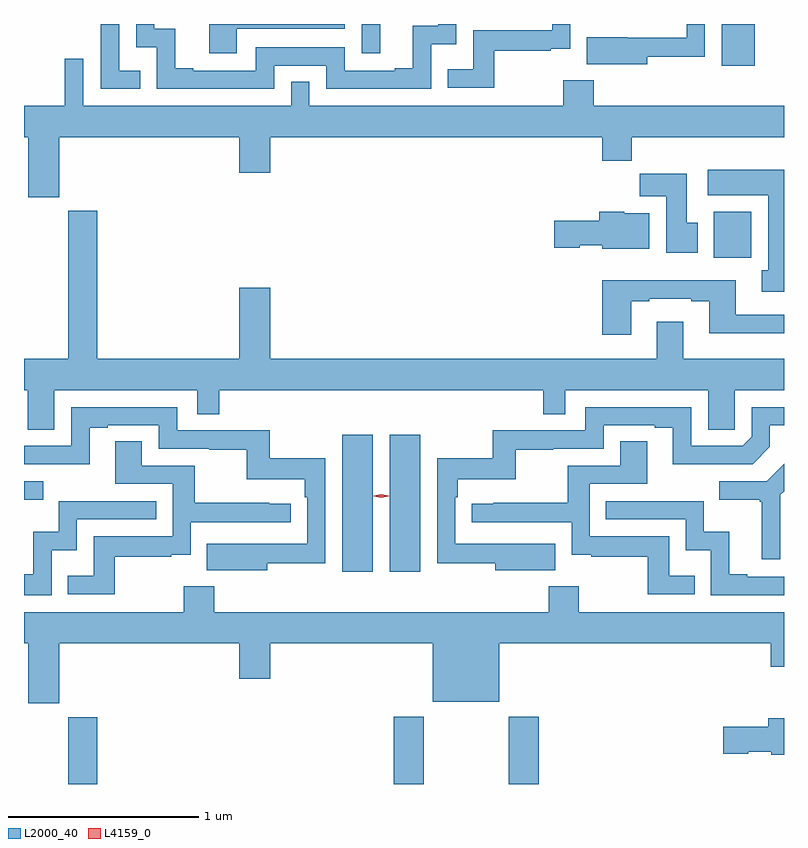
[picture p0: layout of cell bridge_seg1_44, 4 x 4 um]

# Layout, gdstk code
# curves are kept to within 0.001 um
import gdstk
lib = gdstk.Library(unit=1e-6, precision=1e-09)
def R(c, l, rs):  # rectangles x0, y0, x1, y1
    for r in rs: c.add(gdstk.rectangle(r[:2], r[2:], *l))
def P(c, l, *ps):  # polygons
    for p in ps: c.add(gdstk.Polygon(p, *l))
L2000_40 = (2000, 40)
L4159_0 = (4159, 0)

bridge_seg1_44 = lib.new_cell('bridge_seg1_44')
R(bridge_seg1_44, L2000_40, [(955.316,565.643,955.469,565.995), (957.029,565.643,957.189,565.996), (957.634,565.643,957.794,565.996), (956.759,566.76,956.92,567.481), (957.008,566.76,957.169,567.481), (955.084,567.14,955.186,567.237), (958.715,568.412,958.912,568.654), (958.757,569.424,958.93,569.643), (956.862,569.49,956.959,569.643)])
P(bridge_seg1_44, L2000_40, [(958.363,569.47),(958.668,569.47),(958.668,569.643),(958.572,569.643),(958.572,569.571),(958.259,569.571),(958.259,569.572),(958.045,569.572),(958.045,569.432),(958.363,569.432)],
  [(955.697,569.397),(955.584,569.397),(955.584,569.643),(955.488,569.643),(955.488,569.301),(955.697,569.301)],
  [(956.4,569.424),(956.676,569.424),(956.676,569.301),(957.228,569.301),(957.228,569.537),(957.36,569.537),(957.36,569.643),(957.264,569.643),(957.264,569.635),(957.131,569.635),(957.131,569.41),(957.035,569.41),(957.035,569.397),(956.772,569.397),(956.772,569.52),(956.304,569.52),(956.304,569.397),(955.975,569.397),(955.975,569.41),(955.88,569.41),(955.88,569.618),(955.77,569.618),(955.77,569.643),(955.674,569.643),(955.674,569.52),(955.782,569.52),(955.782,569.301),(956.4,569.301)],
  [(957.559,569.502),(957.857,569.502),(957.857,569.513),(957.96,569.513),(957.96,569.643),(957.864,569.643),(957.864,569.61),(957.448,569.61),(957.448,569.404),(957.313,569.404),(957.313,569.307),(957.559,569.307)],
  [(956.203,569.619),(956.772,569.619),(956.772,569.643),(956.059,569.643),(956.059,569.49),(956.203,569.49)],
  [(955.27,569.048),(956.216,569.048),(956.216,568.86),(956.38,568.86),(956.38,569.048),(958.127,569.048),(958.127,568.924),(958.283,568.924),(958.283,569.048),(959.084,569.048),(959.084,569.212),(958.082,569.212),(958.082,569.347),(957.922,569.347),(957.922,569.212),(956.586,569.212),(956.586,569.339),(956.49,569.339),(956.49,569.212),(955.395,569.212),(955.395,569.461),(955.298,569.461),(955.298,569.212),(955.084,569.212),(955.084,569.048),(955.106,569.048),(955.106,568.731),(955.27,568.731)],
  [(959.084,568.876),(958.683,568.876),(958.683,568.742),(959,568.742),(959,568.346),(958.967,568.346),(958.967,568.233),(959.084,568.233)],
  [(958.63,568.596),(958.573,568.596),(958.573,568.855),(958.324,568.855),(958.324,568.736),(958.463,568.736),(958.463,568.44),(958.63,568.44)],
  [(956.38,568.255),(956.216,568.255),(956.216,567.88),(955.469,567.88),(955.469,568.659),(955.316,568.659),(955.316,567.88),(955.084,567.88),(955.084,567.716),(955.104,567.716),(955.104,567.508),(955.243,567.508),(955.243,567.716),(955.995,567.716),(955.995,567.589),(956.111,567.589),(956.111,567.716),(957.817,567.716),(957.817,567.589),(957.933,567.589),(957.933,567.716),(958.685,567.716),(958.685,567.508),(958.824,567.508),(958.824,567.716),(959.084,567.716),(959.084,567.88),(958.555,567.88),(958.555,568.075),(958.415,568.075),(958.415,567.88),(956.38,567.88)],
  [(958.375,568.648),(958.242,568.648),(958.242,568.654),(958.112,568.654),(958.112,568.608),(957.876,568.608),(957.876,568.466),(958.008,568.466),(958.008,568.478),(958.128,568.478),(958.128,568.46),(958.375,568.46)],
  [(958.279,568.185),(958.375,568.185),(958.375,568.197),(958.595,568.197),(958.595,568.185),(958.691,568.185),(958.691,568.016),(959.084,568.016),(959.084,568.113),(958.831,568.113),(958.831,568.294),(958.127,568.294),(958.127,568.008),(958.279,568.008)],
  [(956.365,566.806),(956.67,566.806),(956.67,567.358),(956.377,567.358),(956.377,567.504),(955.89,567.504),(955.89,567.627),(955.332,567.627),(955.332,567.423),(955.084,567.423),(955.084,567.327),(955.224,567.327),(955.224,567.326),(955.429,567.326),(955.429,567.519),(955.525,567.519),(955.525,567.531),(955.794,567.531),(955.794,567.408),(956.059,567.408),(956.059,567.403),(956.256,567.403),(956.256,567.248),(956.561,567.248),(956.561,567.152),(956.574,567.152),(956.574,566.907),(956.261,566.907),(956.261,566.908),(956.047,566.908),(956.047,566.768),(956.365,566.768)],
  [(957.881,566.908),(957.354,566.907),(957.354,567.152),(957.368,567.152),(957.368,567.248),(957.673,567.248),(957.673,567.403),(957.869,567.403),(957.869,567.408),(958.134,567.408),(958.134,567.531),(958.403,567.531),(958.403,567.519),(958.499,567.519),(958.499,567.326),(958.92,567.327),(959.01,567.417),(959.01,567.531),(959.084,567.531),(959.084,567.627),(958.914,567.627),(958.914,567.471),(958.866,567.423),(958.596,567.423),(958.596,567.627),(958.038,567.627),(958.038,567.504),(957.552,567.504),(957.552,567.358),(957.258,567.358),(957.258,566.806),(957.563,566.806),(957.563,566.768),(957.881,566.768)],
  [(958.613,566.74),(958.479,566.74),(958.479,566.946),(958.062,566.946),(958.062,567.222),(958.363,567.222),(958.363,567.446),(958.223,567.446),(958.223,567.318),(957.946,567.318),(957.946,567.122),(957.553,567.122),(957.553,567.117),(957.441,567.117),(957.441,567.021),(957.966,567.021),(957.966,566.849),(958.069,566.849),(958.069,566.838),(958.368,566.838),(958.368,566.643),(958.613,566.643)],
  [(955.561,566.838),(955.859,566.838),(955.859,566.849),(955.962,566.849),(955.962,567.021),(956.488,567.021),(956.488,567.117),(956.375,567.117),(956.375,567.122),(955.982,567.122),(955.982,567.318),(955.705,567.318),(955.705,567.446),(955.565,567.446),(955.565,567.222),(955.866,567.222),(955.866,566.946),(955.45,566.946),(955.45,566.74),(955.315,566.74),(955.315,566.643),(955.561,566.643)],
  [(959.064,567.165),(959.084,567.185),(959.084,567.329),(958.992,567.237),(958.743,567.237),(958.743,567.14),(958.956,567.14),(958.956,567.129),(958.967,567.129),(958.967,566.826),(959.064,566.826)],
  [(955.23,566.873),(955.362,566.873),(955.362,567.036),(955.781,567.036),(955.781,567.132),(955.266,567.132),(955.266,566.971),(955.133,566.971),(955.133,566.746),(955.084,566.746),(955.084,566.637),(955.23,566.637)],
  [(959.084,566.733),(958.891,566.733),(958.891,566.746),(958.795,566.746),(958.795,566.971),(958.662,566.971),(958.662,567.132),(958.147,567.132),(958.147,567.036),(958.566,567.036),(958.566,566.873),(958.698,566.873),(958.698,566.637),(959.084,566.637)],
  [(955.27,566.384),(956.216,566.384),(956.216,566.196),(956.38,566.196),(956.38,566.384),(957.236,566.384),(957.236,566.075),(957.586,566.075),(957.586,566.384),(959.015,566.384),(959.015,566.26),(959.084,566.26),(959.084,566.548),(958.005,566.548),(958.005,566.683),(957.845,566.683),(957.845,566.548),(956.084,566.548),(956.084,566.683),(955.924,566.683),(955.924,566.548),(955.084,566.548),(955.084,566.384),(955.106,566.384),(955.106,566.067),(955.27,566.067)],
  [(959.084,565.99),(959,565.99),(959,565.944),(958.764,565.944),(958.764,565.802),(958.896,565.802),(958.896,565.814),(959.016,565.814),(959.016,565.796),(959.084,565.796)])
P(bridge_seg1_44, L4159_0, [(956.964,567.149),(956.924,567.158),(956.924,567.159),(956.924,567.159),(956.964,567.169),(957.004,567.159),(957.004,567.159),(957.004,567.158)])

lib.write_gds('bridge_seg1_44.gds')
